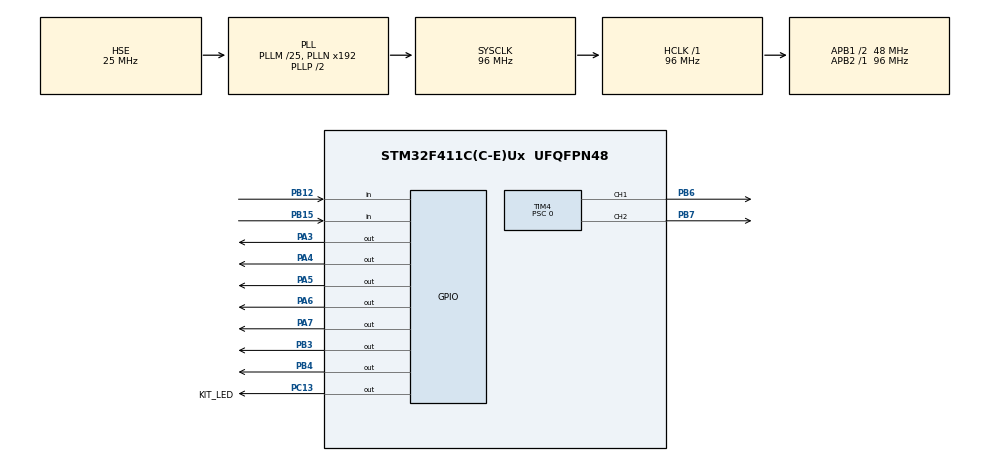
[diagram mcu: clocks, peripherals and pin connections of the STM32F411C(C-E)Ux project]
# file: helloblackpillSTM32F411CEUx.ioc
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Dma.Request0=TIM4_CH1
Dma.TIM4_CH1.0.Direction=DMA_MEMORY_TO_PERIPH
Dma.TIM4_CH1.0.FIFOMode=DMA_FIFOMODE_DISABLE
Dma.TIM4_CH1.0.Instance=DMA1_Stream0
Dma.TIM4_CH1.0.MemDataAlignment=DMA_MDATAALIGN_HALFWORD
Dma.TIM4_CH1.0.MemInc=DMA_MINC_ENABLE
Dma.TIM4_CH1.0.Mode=DMA_NORMAL
Dma.TIM4_CH1.0.PeriphDataAlignment=DMA_PDATAALIGN_HALFWORD
Dma.TIM4_CH1.0.PeriphInc=DMA_PINC_DISABLE
Dma.TIM4_CH1.0.Priority=DMA_PRIORITY_LOW
Mcu.Family=STM32F4
Mcu.Name=STM32F411C(C-E)Ux
Mcu.Package=UFQFPN48
NVIC.DMA1_Stream0_IRQn=true\:0\:0\:false\:false\:true\:false\:true\:true
NVIC.PriorityGroup=NVIC_PRIORITYGROUP_4
NVIC.TIM5_IRQn=true\:0\:0\:false\:false\:true\:true\:true\:true
PA13.Mode=Serial_Wire
PA13.Signal=SYS_JTMS-SWDIO
PA14.Mode=Serial_Wire
PA14.Signal=SYS_JTCK-SWCLK
PA3.Signal=GPIO_Output
PA4.Signal=GPIO_Output
PA5.Signal=GPIO_Output
PA6.Signal=GPIO_Output
PA7.Signal=GPIO_Output
PB12.Signal=GPIO_Input
PB15.Signal=GPIO_Input
PB3.Signal=GPIO_Output
PB4.Signal=GPIO_Output
PB6.Signal=S_TIM4_CH1
PB7.Signal=S_TIM4_CH2
PC13-ANTI_TAMP.GPIO_Label=KIT_LED
PC13-ANTI_TAMP.Signal=GPIO_Output
PC14-OSC32_IN.Mode=LSE-External-Oscillator
PC14-OSC32_IN.Signal=RCC_OSC32_IN
PC15-OSC32_OUT.Mode=LSE-External-Oscillator
PC15-OSC32_OUT.Signal=RCC_OSC32_OUT
PH0\ -\ OSC_IN.Mode=HSE-External-Oscillator
PH0\ -\ OSC_IN.Signal=RCC_OSC_IN
PH1\ -\ OSC_OUT.Mode=HSE-External-Oscillator
PH1\ -\ OSC_OUT.Signal=RCC_OSC_OUT
ProjectManager.HeapSize=0x200
ProjectManager.StackSize=0x400
ProjectManager.TargetToolchain=Makefile
RCC.48MHZClocksFreq_Value=48000000
RCC.AHBFreq_Value=96000000
RCC.APB1CLKDivider=RCC_HCLK_DIV2
RCC.APB1Freq_Value=48000000
RCC.APB1TimFreq_Value=96000000
RCC.APB2Freq_Value=96000000
RCC.APB2TimFreq_Value=96000000
RCC.CortexFreq_Value=96000000
RCC.HCLKFreq_Value=96000000
RCC.HSE_VALUE=25000000
RCC.HSI_VALUE=16000000
RCC.PLLM=25
RCC.PLLSourceVirtual=RCC_PLLSOURCE_HSE
RCC.SYSCLKFreq_VALUE=96000000
RCC.SYSCLKSource=RCC_SYSCLKSOURCE_PLLCLK
RCC.VCOOutputFreq_Value=192000000
SH.S_TIM4_CH1.0=TIM4_CH1,PWM Generation1 CH1
SH.S_TIM4_CH2.0=TIM4_CH2,PWM Generation2 CH2
TIM4.Channel-PWM\ Generation1\ CH1=TIM_CHANNEL_1
TIM4.Channel-PWM\ Generation2\ CH2=TIM_CHANNEL_2
TIM4.Period=5653
TIM4.Prescaler=0
TIM4.Pulse-PWM\ Generation1\ CH1=706
TIM4.Pulse-PWM\ Generation2\ CH2=706
TIM5.Period=68
TIM5.Prescaler=65535
VP_TIM4_VS_ClockSourceINT.Mode=Internal
VP_TIM5_VS_ClockSourceINT.Mode=Internal
board=custom

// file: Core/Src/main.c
/* USER CODE BEGIN Header */
/**
 ******************************************************************************
 * @file           : main.c
 * @brief          : Main program body
 ******************************************************************************
 * @attention
 *
 * Copyright (c) 2022 STMicroelectronics.
 * All rights reserved.
 *
 * This software is licensed under terms that can be found in the LICENSE file
 * in the root directory of this software component.
 * If no LICENSE file comes with this software, it is provided AS-IS.
 *
 ******************************************************************************
 */
/* USER CODE END Header */
#include "main.h"

TIM_HandleTypeDef htim4;
TIM_HandleTypeDef htim5;
DMA_HandleTypeDef hdma_tim4_ch1;

/* USER CODE BEGIN PV */
uint32_t gDec = 0;
/* USER CODE END PV */

void SystemClock_Config(void);
static void MX_GPIO_Init(void);
static void MX_DMA_Init(void);
static void MX_TIM4_Init(void);
static void MX_TIM5_Init(void);

int main(void)
{

  /* MCU Configuration--------------------------------------------------------*/

  /* Reset of all peripherals, Initializes the Flash interface and the Systick. */
  HAL_Init();

  /* Configure the system clock */
  SystemClock_Config();

  /* Initialize all configured peripherals */
  MX_GPIO_Init();
  MX_DMA_Init();
  MX_TIM4_Init();
  MX_TIM5_Init();
  /* USER CODE BEGIN 2 */
  HAL_TIM_PWM_Start(&htim4, TIM_CHANNEL_1);
  HAL_TIM_PWM_Start(&htim4, TIM_CHANNEL_2);
  HAL_TIM_Base_Start_IT(&htim5);
  htim4.Instance->CCR2 = 0;
  /* USER CODE END 2 */

  /* Infinite loop */
  /* USER CODE BEGIN WHILE */
  while (1)
  {
    // Função para incrementar ou decrementar o Duty cycle atraves dos botões
    if (button_release(GPIOB, GPIO_PIN_12, 0))
    {
      if (htim4.Instance->CCR2 <= htim4.Instance->ARR - (uint16_t)(htim4.Instance->ARR * 12.5 / 100)) //incremento
      {
        htim4.Instance->CCR2 = htim4.Instance->CCR2 + (uint16_t)(htim4.Instance->ARR * 12.5 / 100);
      }
    }
    if (button_release(GPIOB, GPIO_PIN_15, 0))
    {
      if (htim4.Instance->CCR2 >= (uint16_t)(htim4.Instance->ARR * 12.5 / 100)) //decremento
      {
        htim4.Instance->CCR2 = htim4.Instance->CCR2 - (uint16_t)(htim4.Instance->ARR * 12.5 / 100);
      }
    }
    /* USER CODE END WHILE */

  }
}

void SystemClock_Config(void)
{
  RCC_OscInitTypeDef RCC_OscInitStruct = {0};
  RCC_ClkInitTypeDef RCC_ClkInitStruct = {0};

  /** Configure the main internal regulator output voltage
   */
  __HAL_RCC_PWR_CLK_ENABLE();
  __HAL_PWR_VOLTAGESCALING_CONFIG(PWR_REGULATOR_VOLTAGE_SCALE1);

  /** Initializes the RCC Oscillators according to the specified parameters
   * in the RCC_OscInitTypeDef structure.
   */
  RCC_OscInitStruct.OscillatorType = RCC_OSCILLATORTYPE_HSE;
  RCC_OscInitStruct.HSEState = RCC_HSE_ON;
  RCC_OscInitStruct.PLL.PLLState = RCC_PLL_ON;
  RCC_OscInitStruct.PLL.PLLSource = RCC_PLLSOURCE_HSE;
  RCC_OscInitStruct.PLL.PLLM = 25;
  RCC_OscInitStruct.PLL.PLLN = 192;
  RCC_OscInitStruct.PLL.PLLP = RCC_PLLP_DIV2;
  RCC_OscInitStruct.PLL.PLLQ = 4;
  if (HAL_RCC_OscConfig(&RCC_OscInitStruct) != HAL_OK)
  {
    Error_Handler();
  }

  /** Initializes the CPU, AHB and APB buses clocks
   */
  RCC_ClkInitStruct.ClockType = RCC_CLOCKTYPE_HCLK | RCC_CLOCKTYPE_SYSCLK | RCC_CLOCKTYPE_PCLK1 | RCC_CLOCKTYPE_PCLK2;
  RCC_ClkInitStruct.SYSCLKSource = RCC_SYSCLKSOURCE_PLLCLK;
  RCC_ClkInitStruct.AHBCLKDivider = RCC_SYSCLK_DIV1;
  RCC_ClkInitStruct.APB1CLKDivider = RCC_HCLK_DIV2;
  RCC_ClkInitStruct.APB2CLKDivider = RCC_HCLK_DIV1;

  if (HAL_RCC_ClockConfig(&RCC_ClkInitStruct, FLASH_LATENCY_3) != HAL_OK)
  {
    Error_Handler();
  }
}

static void MX_TIM4_Init(void)
{

  TIM_ClockConfigTypeDef sClockSourceConfig = {0};
  TIM_MasterConfigTypeDef sMasterConfig = {0};
  TIM_OC_InitTypeDef sConfigOC = {0};

  htim4.Instance = TIM4;
  htim4.Init.Prescaler = 0;
  htim4.Init.CounterMode = TIM_COUNTERMODE_UP;
  htim4.Init.Period = 5653;
  htim4.Init.ClockDivision = TIM_CLOCKDIVISION_DIV1;
  htim4.Init.AutoReloadPreload = TIM_AUTORELOAD_PRELOAD_DISABLE;
  if (HAL_TIM_Base_Init(&htim4) != HAL_OK)
  {
    Error_Handler();
  }
  sClockSourceConfig.ClockSource = TIM_CLOCKSOURCE_INTERNAL;
  if (HAL_TIM_ConfigClockSource(&htim4, &sClockSourceConfig) != HAL_OK)
  {
    Error_Handler();
  }
  if (HAL_TIM_PWM_Init(&htim4) != HAL_OK)
  {
    Error_Handler();
  }
  sMasterConfig.MasterOutputTrigger = TIM_TRGO_RESET;
  sMasterConfig.MasterSlaveMode = TIM_MASTERSLAVEMODE_DISABLE;
  if (HAL_TIMEx_MasterConfigSynchronization(&htim4, &sMasterConfig) != HAL_OK)
  {
    Error_Handler();
  }
  sConfigOC.OCMode = TIM_OCMODE_PWM1;
  sConfigOC.Pulse = 706;
  sConfigOC.OCPolarity = TIM_OCPOLARITY_HIGH;
  sConfigOC.OCFastMode = TIM_OCFAST_DISABLE;
  if (HAL_TIM_PWM_ConfigChannel(&htim4, &sConfigOC, TIM_CHANNEL_1) != HAL_OK)
  {
    Error_Handler();
  }
  if (HAL_TIM_PWM_ConfigChannel(&htim4, &sConfigOC, TIM_CHANNEL_2) != HAL_OK)
  {
    Error_Handler();
  }
  HAL_TIM_MspPostInit(&htim4);
}

static void MX_TIM5_Init(void)
{

  TIM_ClockConfigTypeDef sClockSourceConfig = {0};
  TIM_MasterConfigTypeDef sMasterConfig = {0};

  htim5.Instance = TIM5;
  htim5.Init.Prescaler = 9600 - 1;
  htim5.Init.CounterMode = TIM_COUNTERMODE_UP;
  htim5.Init.Period = 1000;
  htim5.Init.ClockDivision = TIM_CLOCKDIVISION_DIV1;
  htim5.Init.AutoReloadPreload = TIM_AUTORELOAD_PRELOAD_DISABLE;
  if (HAL_TIM_Base_Init(&htim5) != HAL_OK)
  {
    Error_Handler();
  }
  sClockSourceConfig.ClockSource = TIM_CLOCKSOURCE_INTERNAL;
  if (HAL_TIM_ConfigClockSource(&htim5, &sClockSourceConfig) != HAL_OK)
  {
    Error_Handler();
  }
  sMasterConfig.MasterOutputTrigger = TIM_TRGO_RESET;
  sMasterConfig.MasterSlaveMode = TIM_MASTERSLAVEMODE_DISABLE;
  if (HAL_TIMEx_MasterConfigSynchronization(&htim5, &sMasterConfig) != HAL_OK)
  {
    Error_Handler();
  }
}

static void MX_DMA_Init(void)
{

  /* DMA controller clock enable */
  __HAL_RCC_DMA1_CLK_ENABLE();

  /* DMA interrupt init */
  /* DMA1_Stream0_IRQn interrupt configuration */
  HAL_NVIC_SetPriority(DMA1_Stream0_IRQn, 0, 0);
  HAL_NVIC_EnableIRQ(DMA1_Stream0_IRQn);
}

static void MX_GPIO_Init(void)
{
  GPIO_InitTypeDef GPIO_InitStruct = {0};

  /* GPIO Ports Clock Enable */
  __HAL_RCC_GPIOC_CLK_ENABLE();
  __HAL_RCC_GPIOH_CLK_ENABLE();
  __HAL_RCC_GPIOA_CLK_ENABLE();
  __HAL_RCC_GPIOB_CLK_ENABLE();

  /*Configure GPIO pin Output Level */
  HAL_GPIO_WritePin(KIT_LED_GPIO_Port, KIT_LED_Pin, GPIO_PIN_RESET);

  /*Configure GPIO pin Output Level */
  HAL_GPIO_WritePin(GPIOA, GPIO_PIN_3 | GPIO_PIN_4 | GPIO_PIN_5 | GPIO_PIN_6 | GPIO_PIN_7, GPIO_PIN_RESET);

  /*Configure GPIO pin Output Level */
  HAL_GPIO_WritePin(GPIOB, GPIO_PIN_3 | GPIO_PIN_4, GPIO_PIN_RESET);

  /*Configure GPIO pin : KIT_LED_Pin */
  GPIO_InitStruct.Pin = KIT_LED_Pin;
  GPIO_InitStruct.Mode = GPIO_MODE_OUTPUT_PP;
  GPIO_InitStruct.Pull = GPIO_NOPULL;
  GPIO_InitStruct.Speed = GPIO_SPEED_FREQ_LOW;
  HAL_GPIO_Init(KIT_LED_GPIO_Port, &GPIO_InitStruct);

  /*Configure GPIO pins : PA3 PA4 PA5 PA6
                           PA7 */
  GPIO_InitStruct.Pin = GPIO_PIN_3 | GPIO_PIN_4 | GPIO_PIN_5 | GPIO_PIN_6 | GPIO_PIN_7;
  GPIO_InitStruct.Mode = GPIO_MODE_OUTPUT_PP;
  GPIO_InitStruct.Pull = GPIO_NOPULL;
  GPIO_InitStruct.Speed = GPIO_SPEED_FREQ_LOW;
  HAL_GPIO_Init(GPIOA, &GPIO_InitStruct);

  /*Configure GPIO pins : PB12 PB15 */
  GPIO_InitStruct.Pin = GPIO_PIN_12 | GPIO_PIN_15;
  GPIO_InitStruct.Mode = GPIO_MODE_INPUT;
  GPIO_InitStruct.Pull = GPIO_NOPULL;
  HAL_GPIO_Init(GPIOB, &GPIO_InitStruct);

  /*Configure GPIO pins : PB3 PB4 */
  GPIO_InitStruct.Pin = GPIO_PIN_3 | GPIO_PIN_4;
  GPIO_InitStruct.Mode = GPIO_MODE_OUTPUT_PP;
  GPIO_InitStruct.Pull = GPIO_NOPULL;
  GPIO_InitStruct.Speed = GPIO_SPEED_FREQ_LOW;
  HAL_GPIO_Init(GPIOB, &GPIO_InitStruct);

}

/* USER CODE BEGIN 4 */
void HAL_TIM_PeriodElapsedCallback(TIM_HandleTypeDef *htim)
{

  // Led 1 variando o Duty cycle de 0 a  100
  if (htim == &htim5)
  {
    if (gDec <= 40)
    {
      htim4.Instance->CCR1 = (htim4.Instance->ARR * gDec / 40.0);
      gDec++;
    }
    else if (gDec >= 40 && gDec <= 60)
    {
      htim4.Instance->CCR1 = (htim4.Instance->ARR * (60 - gDec) / 20.0);
      gDec++;
      if (gDec > 60)
      {
        gDec = 0;
      }
    }
  }
}
/* USER CODE END 4 */

void Error_Handler(void)
{
  __disable_irq();
  while (1)
  {
  }
}
